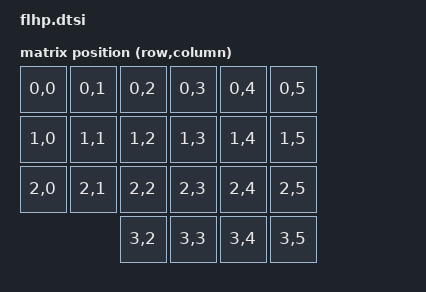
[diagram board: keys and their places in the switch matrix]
/*
 * Copyright (c) 2020 The ZMK Contributors
 *
 * SPDX-License-Identifier: MIT
 */

#include <dt-bindings/zmk/matrix_transform.h>

/ {
	chosen {
		zmk,kscan = &kscan0;
		zmk,matrix_transform = &default_transform;
	};

	default_transform: keymap_transform_0 {
		compatible = "zmk,matrix-transform";
		columns = <6>;
		rows = <4>;
// | k00  | k01  | k02  | k03  | k04  | k05  |
// | k10  | k11  | k12  | k13  | k14  | k15  |
// | k20  | k21  | k22  | k23  | k24  | k25  |
//               | k32  | k33  | k34  | k35  |
		map = <
RC(0,0) RC(0,1) RC(0,2) RC(0,3) RC(0,4) RC(0,5)
RC(1,0) RC(1,1) RC(1,2) RC(1,3) RC(1,4) RC(1,5)
RC(2,0) RC(2,1) RC(2,2) RC(2,3) RC(2,4) RC(2,5)
                RC(3,2) RC(3,3) RC(3,4) RC(3,5)
		>;
	};

	kscan0: kscan {
		compatible = "zmk,kscan-gpio-matrix";
		label = "KSCAN";
		wakeup-source;

		diode-direction = "col2row";

	};
};
